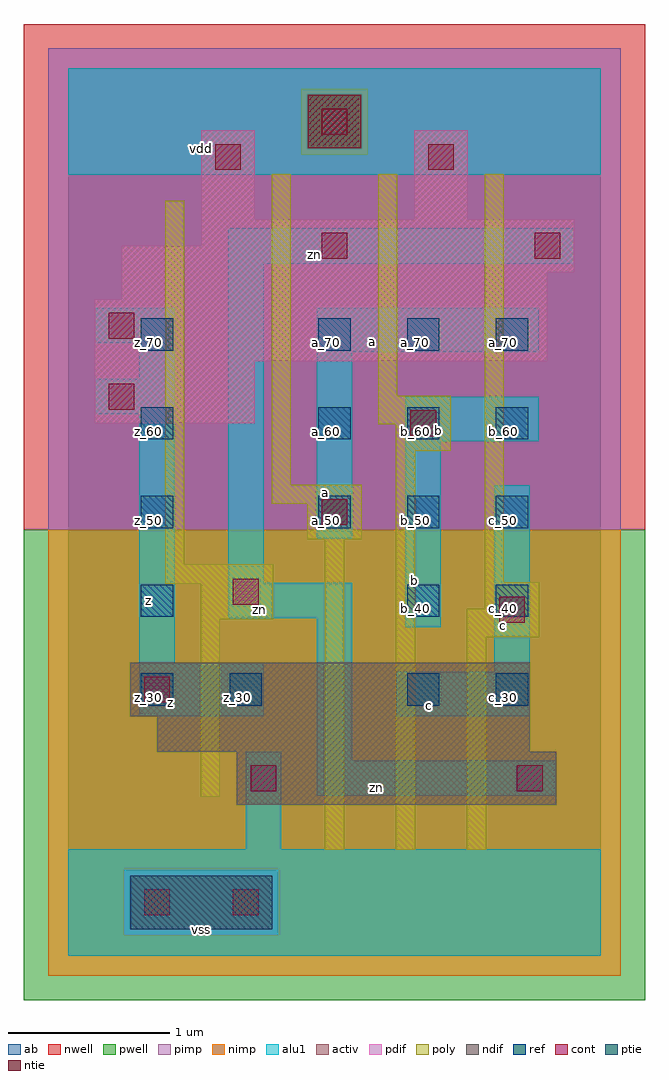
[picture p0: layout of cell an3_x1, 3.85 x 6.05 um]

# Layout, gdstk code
import gdstk
lib = gdstk.Library(unit=1e-6, precision=2.5e-09)
def R(c, l, rs):  # rectangles x0, y0, x1, y1
    for r in rs: c.add(gdstk.rectangle(r[:2], r[2:], *l))
def A(c, l, x, y, w, h, nx, ny, dx, dy):  # array of equal rectangles
    R(c, l, [(x+i*dx, y+j*dy, x+i*dx+w, y+j*dy+h) for i in range(nx) for j in range(ny)])
ndif = (3, 0)
pdif = (4, 0)
ntie = (5, 0)
ptie = (6, 0)
ref = (24, 0)
cont = (25, 0)
pwell = (41, 0)
nwell = (42, 0)
activ = (43, 0)
pimp = (44, 0)
nimp = (45, 0)
poly = (46, 0)
alu1 = (49, 0)
ab = (63, 0)

an3_x1 = lib.new_cell('an3_x1')
R(an3_x1, ndif, [(1.045,0.935,3.025,1.265), (0.55,1.265,2.86,1.485), (0.385,1.485,2.86,1.815)])
R(an3_x1, pdif, [(0.165,3.3,1.155,3.685), (0.165,3.685,2.97,4.07), (0.33,4.07,2.97,4.235), (0.33,4.235,3.135,4.4), (0.825,4.4,3.135,4.565), (0.825,4.565,1.155,5.115), (2.145,4.565,2.475,5.115)])
R(an3_x1, ntie, [(1.485,5.005,1.815,5.335)])
R(an3_x1, ptie, [(0.385,0.165,1.265,0.495)])
A(an3_x1, ref, 0.45, 1.55, 0.2, 0.2, 1, 5, 0, 0.55)
A(an3_x1, ref, 1.55, 2.65, 0.2, 0.2, 3, 3, 0.55, 0.55)
R(an3_x1, ref, [(1,1.55,1.2,1.75), (2.1,1.55,2.3,1.75), (2.65,1.55,2.85,1.75), (2.1,2.1,2.3,2.3), (2.65,2.1,2.85,2.3)])
R(an3_x1, cont, [(0.47,0.25,0.63,0.41), (1.02,0.25,1.18,0.41), (1.13,1.02,1.29,1.18), (2.78,1.02,2.94,1.18), (0.47,1.57,0.63,1.73), (2.67,2.065,2.83,2.225), (1.02,2.175,1.18,2.335), (1.57,2.67,1.73,2.83), (2.12,3.22,2.28,3.38), (0.25,3.385,0.41,3.545), (0.25,3.825,0.41,3.985), (1.57,4.32,1.73,4.48), (2.89,4.32,3.05,4.48), (0.91,4.87,1.07,5.03), (2.23,4.87,2.39,5.03), (1.57,5.09,1.73,5.25)])
R(an3_x1, pwell, [(-0.275,-0.275,3.575,2.64)])
R(an3_x1, nwell, [(-0.275,2.64,3.575,5.775)])
R(an3_x1, activ, [(0.385,0.165,1.265,0.495), (1.045,0.935,3.025,1.265), (0.55,1.265,2.86,1.485), (0.385,1.485,2.86,1.815), (0.165,3.3,1.155,3.685), (0.165,3.685,2.97,4.07), (0.33,4.07,2.97,4.235), (0.33,4.235,3.135,4.4), (0.825,4.4,3.135,4.565), (0.825,4.565,1.155,5.115), (2.145,4.565,2.475,5.115), (1.485,5.005,1.815,5.335)])
R(an3_x1, pimp, [(0.345,0.125,1.305,0.535), (-0.125,2.64,3.425,4.965), (-0.125,4.965,1.445,5.375), (1.855,4.965,3.425,5.375), (-0.125,5.375,3.425,5.625)])
R(an3_x1, nimp, [(-0.125,-0.125,3.425,0.125), (-0.125,0.125,0.345,0.535), (1.305,0.125,3.425,0.535), (-0.125,0.535,3.425,2.64), (1.445,4.965,1.855,5.375)])
R(an3_x1, poly, [(1.59,0.655,1.71,2.58), (2.03,0.655,2.15,3.13), (2.47,0.655,2.59,1.975), (0.82,0.985,0.94,2.085), (2.47,1.975,2.92,2.15), (0.82,2.085,1.27,2.305), (2.58,2.15,2.92,2.315), (0.6,2.305,1.27,2.425), (2.58,2.315,2.7,4.845), (0.6,2.425,0.72,4.68), (1.48,2.58,1.82,2.8), (1.26,2.8,1.82,2.92), (1.26,2.92,1.38,4.845), (2.03,3.13,2.37,3.295), (1.92,3.295,2.37,3.47), (1.92,3.47,2.04,4.845)])
R(an3_x1, alu1, [(0,0,3.3,0.66), (1.1,0.66,1.32,1.265), (1.54,0.99,3.025,1.21), (1.54,1.21,1.76,2.09), (0.44,1.485,1.21,1.815), (2.035,1.485,2.86,1.76), (2.64,1.76,2.86,2.915), (0.44,1.815,0.66,3.355), (2.09,2.035,2.31,3.19), (0.99,2.09,1.76,2.31), (0.99,2.31,1.21,4.29), (1.54,2.585,1.76,3.74), (2.09,3.19,2.915,3.465), (0.165,3.355,0.66,3.575), (0.44,3.575,0.66,3.795), (1.54,3.74,2.915,4.015), (0.165,3.795,0.66,4.015), (0.99,4.29,3.135,4.51), (0,4.84,3.3,5.5)])
R(an3_x1, ab, [(0,0,3.3,5.5)])
an3_x1.add(gdstk.Label('vss', (0.825,0.165), layer=49, texttype=0))
an3_x1.add(gdstk.Label('zn', (1.91,1.045), layer=49, texttype=0))
an3_x1.add(gdstk.Label('c', (2.24,1.5525), layer=49, texttype=0))
an3_x1.add(gdstk.Label('c', (2.695,2.0475), layer=49, texttype=0))
an3_x1.add(gdstk.Label('b', (2.145,2.3225), layer=49, texttype=0))
an3_x1.add(gdstk.Label('z', (0.6325,1.5675), layer=49, texttype=0))
an3_x1.add(gdstk.Label('zn', (1.1825,2.145), layer=49, texttype=0))
an3_x1.add(gdstk.Label('b', (2.295,3.2575), layer=49, texttype=0))
an3_x1.add(gdstk.Label('a', (1.595,2.8725), layer=49, texttype=0))
an3_x1.add(gdstk.Label('a', (1.8825,3.8075), layer=49, texttype=0))
an3_x1.add(gdstk.Label('z', (0.495,2.2), layer=49, texttype=0))
an3_x1.add(gdstk.Label('zn', (1.525,4.345), layer=49, texttype=0))
an3_x1.add(gdstk.Label('vdd', (0.825,5.005), layer=49, texttype=0))
an3_x1.add(gdstk.Label('b_40', (2.15,2.15), layer=24, texttype=0))
an3_x1.add(gdstk.Label('z_50', (0.5,2.7), layer=24, texttype=0))
an3_x1.add(gdstk.Label('z_60', (0.5,3.25), layer=24, texttype=0))
an3_x1.add(gdstk.Label('z_40', (0.5,2.15), layer=24, texttype=0))
an3_x1.add(gdstk.Label('z_70', (0.5,3.8), layer=24, texttype=0))
an3_x1.add(gdstk.Label('z_30', (0.5,1.6), layer=24, texttype=0))
an3_x1.add(gdstk.Label('b_50', (2.15,2.7), layer=24, texttype=0))
an3_x1.add(gdstk.Label('c_50', (2.7,2.7), layer=24, texttype=0))
an3_x1.add(gdstk.Label('c_40', (2.7,2.15), layer=24, texttype=0))
an3_x1.add(gdstk.Label('a_70', (2.7,3.8), layer=24, texttype=0))
an3_x1.add(gdstk.Label('a_70', (2.15,3.8), layer=24, texttype=0))
an3_x1.add(gdstk.Label('a_70', (1.6,3.8), layer=24, texttype=0))
an3_x1.add(gdstk.Label('a_60', (1.6,3.25), layer=24, texttype=0))
an3_x1.add(gdstk.Label('a_50', (1.6,2.7), layer=24, texttype=0))
an3_x1.add(gdstk.Label('b_60', (2.7,3.25), layer=24, texttype=0))
an3_x1.add(gdstk.Label('b_60', (2.15,3.25), layer=24, texttype=0))
an3_x1.add(gdstk.Label('c_30', (2.15,1.6), layer=24, texttype=0))
an3_x1.add(gdstk.Label('c_30', (2.7,1.6), layer=24, texttype=0))
an3_x1.add(gdstk.Label('z_30', (1.05,1.6), layer=24, texttype=0))

lib.write_gds('an3_x1.gds')
